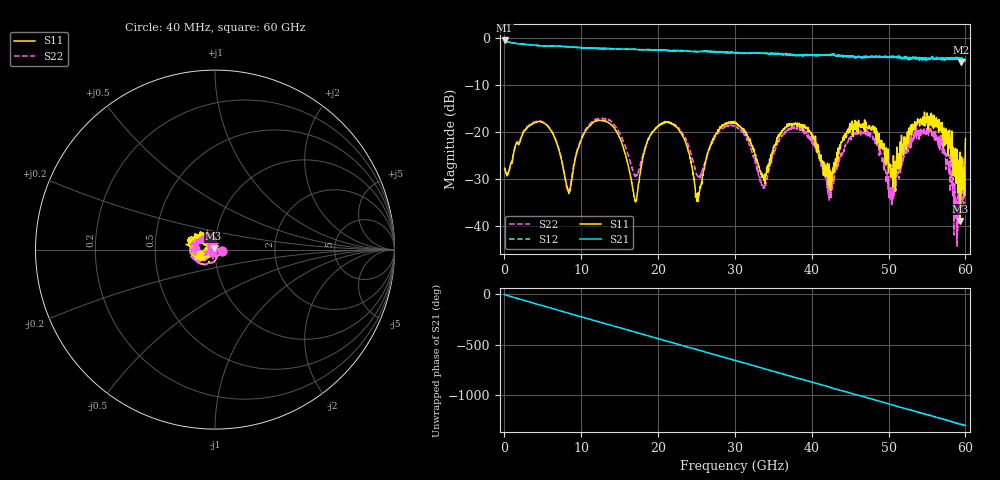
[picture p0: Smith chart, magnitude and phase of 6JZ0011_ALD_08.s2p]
! File created by 'SoftPlot +Plus+ Measurement Management Software'
! SoftPlot +Plus+ Measurement Management Software
! Start 40.000000 MHz  Stop 60.000000 GHz  Points 1601
# MHZ S RI R 50
! S-Parameter data, F S11 S21 S12 S22
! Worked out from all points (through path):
!   1601 points, 40 MHz to 60 GHz, reference 50 ohm
!   highest |S21| = -0.43 dB at 40 MHz (marker M1); lowest = -5.0 dB at 59.4 GHz (marker M2)
!   group delay of S21, straight-line fit = 60.1 ps
!   lowest |S11| = -38.9 dB at 59.33 GHz (marker M3), VSWR 1.02, Z = 49.2 + j0.811 ohm
!   |S11| at or under -10 dB: start of sweep to end of sweep
!   |S22| runs from -44.2 to -17.0 dB; largest |S21 - S12| = 0.071
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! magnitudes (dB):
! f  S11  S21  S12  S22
! 40 MHz  -27.7  -0.4  -0.4  -27.5
! 4.799 GHz  -17.8  -1.6  -1.5  -17.6
! 8.359 GHz  -32.5  -1.8  -1.8  -32.3
! 10.05 GHz  -21.4  -2.0  -2.0  -21.3
! 14.09 GHz  -18.6  -2.2  -2.2  -17.9
! 17.05 GHz  -34.6  -2.3  -2.3  -28.9
! 20.05 GHz  -18.6  -2.5  -2.4  -18.6
! 23.12 GHz  -20.4  -2.7  -2.6  -20.0
! 25.15 GHz  -33.5  -2.8  -2.7  -29.3
! 27.25 GHz  -21.2  -2.9  -2.9  -21.5
! 30.02 GHz  -17.9  -3.0  -3.0  -18.6
! 33.73 GHz  -29.3  -3.2  -3.1  -31.5
! 36.62 GHz  -19.0  -3.4  -3.1  -19.7
! 40.03 GHz  -20.3  -3.5  -3.5  -21.5
! 42.39 GHz  -31.0  -3.4  -3.4  -33.0
! 44.86 GHz  -19.6  -3.9  -3.7  -21.3
! 47.45 GHz  -18.8  -3.9  -4.0  -20.4
! 50.03 GHz  -26.6  -4.0  -3.8  -33.8
! 55.32 GHz  -17.3  -4.3  -4.1  -18.9
! 59.33 GHz  -38.9  -4.7  -4.1  -38.2
! 59.4 GHz  -30.2  -5.0  -4.2  -33.4
! 60 GHz  -21.3  -4.5  -4.2  -32.4
